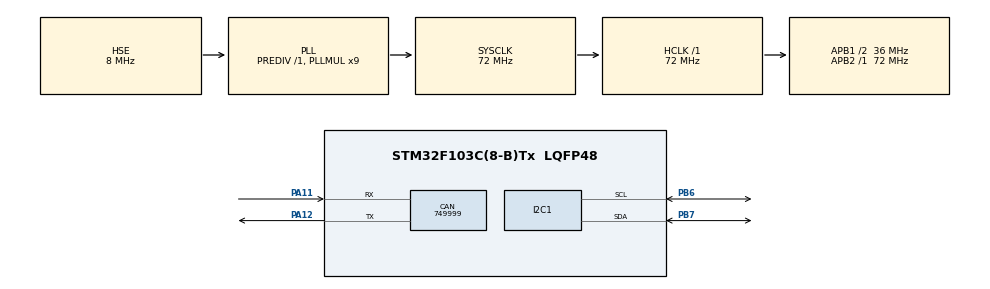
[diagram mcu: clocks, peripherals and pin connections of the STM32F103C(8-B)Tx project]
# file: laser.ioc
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CAN.CalculateBaudRate=749999
CAN.CalculateTimeBit=1333
CAN.CalculateTimeQuantum=444.44444444444446
Mcu.Family=STM32F1
Mcu.Name=STM32F103C(8-B)Tx
Mcu.Package=LQFP48
NVIC.PriorityGroup=NVIC_PRIORITYGROUP_4
PA11.Mode=CAN_Activate
PA11.Signal=CAN_RX
PA12.Mode=CAN_Activate
PA12.Signal=CAN_TX
PA13.Mode=Serial_Wire
PA13.Signal=SYS_JTMS-SWDIO
PA14.Mode=Serial_Wire
PA14.Signal=SYS_JTCK-SWCLK
PB6.Mode=I2C
PB6.Signal=I2C1_SCL
PB7.Mode=I2C
PB7.Signal=I2C1_SDA
PD0-OSC_IN.Mode=HSE-External-Oscillator
PD0-OSC_IN.Signal=RCC_OSC_IN
PD1-OSC_OUT.Mode=HSE-External-Oscillator
PD1-OSC_OUT.Signal=RCC_OSC_OUT
ProjectManager.HeapSize=0x200
ProjectManager.StackSize=0x400
ProjectManager.TargetToolchain=MDK-ARM V5.32
RCC.AHBFreq_Value=72000000
RCC.APB1CLKDivider=RCC_HCLK_DIV2
RCC.APB1Freq_Value=36000000
RCC.APB1TimFreq_Value=72000000
RCC.APB2Freq_Value=72000000
RCC.APB2TimFreq_Value=72000000
RCC.HCLKFreq_Value=72000000
RCC.PLLMUL=RCC_PLL_MUL9
RCC.PLLSourceVirtual=RCC_PLLSOURCE_HSE
RCC.SYSCLKFreq_VALUE=72000000
RCC.SYSCLKSource=RCC_SYSCLKSOURCE_PLLCLK
RCC.USBFreq_Value=72000000
board=custom

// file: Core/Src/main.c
/* USER CODE BEGIN Header */
/**
  ******************************************************************************
  * @file           : main.c
  * @brief          : Main program body
  ******************************************************************************
  * @attention
  *
  * Copyright (c) 2026 STMicroelectronics.
  * All rights reserved.
  *
  * This software is licensed under terms that can be found in the LICENSE file
  * in the root directory of this software component.
  * If no LICENSE file comes with this software, it is provided AS-IS.
  *
  ******************************************************************************
  */
/* USER CODE END Header */
#include "main.h"
#include "can.h"
#include "i2c.h"
#include "gpio.h"

/* USER CODE BEGIN Includes */
#include <string.h>
#include <stdio.h>
/* USER CODE END Includes */

void SystemClock_Config(void);

int main(void)
{

  /* MCU Configuration--------------------------------------------------------*/

  /* Reset of all peripherals, Initializes the Flash interface and the Systick. */
  HAL_Init();

  /* Configure the system clock */
  SystemClock_Config();

  /* Initialize all configured peripherals */
  MX_GPIO_Init();
  MX_CAN_Init();
  MX_I2C1_Init();
 /* USER CODE BEGIN 2 */
  // 1. 配置 CAN 数据过滤器（全通模式，接收所有 CAN 帧）
  CAN_FilterTypeDef sFilterConfig;
  sFilterConfig.FilterBank = 0;
  sFilterConfig.FilterMode = CAN_FILTERMODE_IDMASK;
  sFilterConfig.FilterScale = CAN_FILTERSCALE_32BIT;
  sFilterConfig.FilterIdHigh = 0x0000;
  sFilterConfig.FilterIdLow = 0x0000;
  sFilterConfig.FilterMaskIdHigh = 0x0000;
  sFilterConfig.FilterMaskIdLow = 0x0000;
  sFilterConfig.FilterFIFOAssignment = CAN_RX_FIFO0;
  sFilterConfig.FilterActivation = ENABLE;
  sFilterConfig.SlaveStartFilterBank = 14;

  HAL_CAN_ConfigFilter(&hcan, &sFilterConfig);

  // 2. 启动 CAN 外设
  HAL_CAN_Start(&hcan);
/* USER CODE END 2 */

  /* Infinite loop */
  /* USER CODE BEGIN WHILE */
  while (1)
  {
    /* 所有逻辑由 CAN RX 中断驱动，主循环空闲 */
    /* USER CODE END WHILE */
  }

  }

void SystemClock_Config(void)
{
  RCC_OscInitTypeDef RCC_OscInitStruct = {0};
  RCC_ClkInitTypeDef RCC_ClkInitStruct = {0};

  /** Initializes the RCC Oscillators according to the specified parameters
  * in the RCC_OscInitTypeDef structure.
  */
  RCC_OscInitStruct.OscillatorType = RCC_OSCILLATORTYPE_HSE;
  RCC_OscInitStruct.HSEState = RCC_HSE_ON;
  RCC_OscInitStruct.HSEPredivValue = RCC_HSE_PREDIV_DIV1;
  RCC_OscInitStruct.HSIState = RCC_HSI_ON;
  RCC_OscInitStruct.PLL.PLLState = RCC_PLL_ON;
  RCC_OscInitStruct.PLL.PLLSource = RCC_PLLSOURCE_HSE;
  RCC_OscInitStruct.PLL.PLLMUL = RCC_PLL_MUL9;
  if (HAL_RCC_OscConfig(&RCC_OscInitStruct) != HAL_OK)
  {
    Error_Handler();
  }

  /** Initializes the CPU, AHB and APB buses clocks
  */
  RCC_ClkInitStruct.ClockType = RCC_CLOCKTYPE_HCLK|RCC_CLOCKTYPE_SYSCLK
                              |RCC_CLOCKTYPE_PCLK1|RCC_CLOCKTYPE_PCLK2;
  RCC_ClkInitStruct.SYSCLKSource = RCC_SYSCLKSOURCE_PLLCLK;
  RCC_ClkInitStruct.AHBCLKDivider = RCC_SYSCLK_DIV1;
  RCC_ClkInitStruct.APB1CLKDivider = RCC_HCLK_DIV2;
  RCC_ClkInitStruct.APB2CLKDivider = RCC_HCLK_DIV1;

  if (HAL_RCC_ClockConfig(&RCC_ClkInitStruct, FLASH_LATENCY_2) != HAL_OK)
  {
    Error_Handler();
  }
}

/* USER CODE BEGIN 4 */

/**
  * @brief  将 CAN 帧中的模拟量数据格式化为 FireWater CSV 行
  * @param  buf:     输出缓冲区
  * @param  maxlen:  缓冲区最大长度
  * @param  canId:   收到的 CAN 标准 ID
  * @param  data:    CAN 帧数据（每 2 字节大端 = 1 个通道原始 ADC 值）
  * @param  dlc:     CAN 帧数据长度
  * @retval 写入缓冲区的字节数（含结尾 '\n'），失败返回 -1
  */
int format_firewater(char *buf, int maxlen, uint32_t canId, uint8_t *data, uint8_t dlc)
{
  if (maxlen < 16) return -1;  /* 缓冲区太小 */

  int pos = 0;

  /* 第 1 列：系统运行毫秒时间戳，第 2 列：CAN ID（数据来源标识） */
  pos = snprintf(buf, maxlen, "%lu,0x%03lX", (unsigned long)HAL_GetTick(), (unsigned long)canId);

  /* 后续列：每 2 字节解析为一个通道的原始 ADC 值（大端序，12 位） */
  /* 转换为电压值（V），使用整数运算避免 microlib 浮点格式问题 */
  for (int i = 0; i + 1 < (int)dlc; i += 2)
  {
    uint16_t raw = ((uint16_t)data[i] << 8) | data[i + 1];
    /* raw * 3.3 / 4096 → 转换为毫伏: raw * 3300 / 4096 */
    uint16_t mv = (uint16_t)(((uint32_t)raw * 3300UL + 2048UL) / 4096UL);
    int int_part = mv / 1000;
    int frac_part = mv % 1000;

    if (pos < maxlen - 10)
    {
      pos += snprintf(buf + pos, maxlen - pos, ",%d.%03d", int_part, frac_part);
    }
    else
    {
      break;  /* 缓冲区不足，停止追加 */
    }
  }

  /* 行尾换行符（FireWater 协议要求） */
  if (pos < maxlen - 1)
  {
    buf[pos++] = '\n';
  }
  buf[pos] = '\0';

  return pos;
}

/**
  * @brief  将缓冲数据按 CAN 多帧分段协议发送
  * @param  hcan:   CAN 句柄指针
  * @param  stdId:  目标 CAN 标准 ID
  * @param  data:   待发送数据
  * @param  len:    数据字节数
  * @note   分段协议：Byte0 为控制字
  *         - 起始帧: 0x80 | 总字节数, Byte1-7 = 前 7 字节数据
  *         - 中间帧: 序号(0-126), Byte1-7 = 7 字节数据
  *         - 结束帧: 0xFF, Byte1-7 = 剩余数据 + 补 0
  *         总长 ≤ 7 时直接发结束帧（单帧）
  */
void can_send_segmented(CAN_HandleTypeDef *hcan, uint32_t stdId, uint8_t *data, int len)
{
  CAN_TxHeaderTypeDef txHeader = {0};
  uint8_t txData[8];
  uint32_t mailbox;
  int offset = 0;
  int seq = 0;

  txHeader.StdId = stdId;
  txHeader.ExtId = 0x00;
  txHeader.RTR  = CAN_RTR_DATA;
  txHeader.IDE  = CAN_ID_STD;
  txHeader.DLC  = 8;
  txHeader.TransmitGlobalTime = DISABLE;

  if (len <= 0) return;

  /* 单帧：总长 ≤ 7，直接发结束帧 */
  if (len <= 7)
  {
    txData[0] = 0xFF;
    (void)memcpy(&txData[1], data, len);
    (void)memset(&txData[1 + len], 0, 7 - len);
    HAL_CAN_AddTxMessage(hcan, &txHeader, txData, &mailbox);
    return;
  }

  /* 起始帧：Byte0 = 0x80 | 总字节数 */
  txData[0] = 0x80 | ((uint8_t)len & 0x7F);
  (void)memcpy(&txData[1], data, 7);
  HAL_CAN_AddTxMessage(hcan, &txHeader, txData, &mailbox);
  offset = 7;

  /* 中间帧：序号递增 */
  while (offset + 7 < len)
  {
    txData[0] = (uint8_t)(seq++);
    (void)memcpy(&txData[1], data + offset, 7);
    HAL_CAN_AddTxMessage(hcan, &txHeader, txData, &mailbox);
    offset += 7;
  }

  /* 结束帧 */
  txData[0] = 0xFF;
  int remain = len - offset;
  (void)memcpy(&txData[1], data + offset, remain);
  (void)memset(&txData[1 + remain], 0, 7 - remain);
  HAL_CAN_AddTxMessage(hcan, &txHeader, txData, &mailbox);
}

/**
  * @brief  CAN RX FIFO0 消息挂起回调
  *         收到模拟 I/O 模块的 CAN 帧后，格式化为 FireWater 并分段发送
  * @param  hcan: CAN 句柄指针
  */
void HAL_CAN_RxFifo0MsgPendingCallback(CAN_HandleTypeDef *hcan)
{
  CAN_RxHeaderTypeDef rxHeader;
  uint8_t rxData[8];

  if (HAL_CAN_GetRxMessage(hcan, CAN_RX_FIFO0, &rxHeader, rxData) != HAL_OK)
  {
    return;
  }

  /* 仅处理模拟 I/O 模块的 CAN ID 范围 (0x100 - 0x10F) */
  if (rxHeader.StdId < CAN_ID_ANALOG_BASE || rxHeader.StdId > CAN_ID_ANALOG_END)
  {
    return;
  }

  /* 格式化为 FireWater 行 */
  char fw_buf[FW_BUF_SIZE];
  int len = format_firewater(fw_buf, FW_BUF_SIZE, rxHeader.StdId, rxData, rxHeader.DLC);
  if (len > 0)
  {
    can_send_segmented(hcan, CAN_ID_HOST_OUTPUT, (uint8_t *)fw_buf, len);
  }
}

/* USER CODE END 4 */

void Error_Handler(void)
{
  __disable_irq();
  while (1)
  {
  }
}
